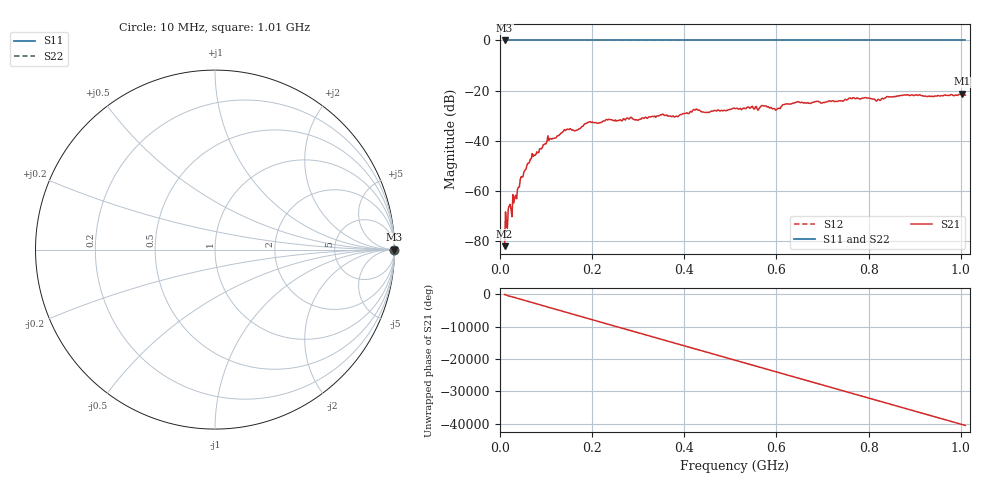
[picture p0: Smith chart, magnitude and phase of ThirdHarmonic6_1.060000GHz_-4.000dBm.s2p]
! 8/16/2025 9:28:37 AM
! C:\ANRITSUVNA\TEMP\TEMP.S2P
! CHANNEL.1
! TR.MEASUREMENT
! RAW.DATA
! RF.CORRECTION.OFF
! AVERAGING.OFF
! IF.BANDWIDTH: 5KHZ
! SWEEPTYPE:  FREQ.SWEEP(Linear)
! Reference Plane Port Info
! PORT:  PORT1  PORT2
! DISTANCE:  0  m  0  m
! TIME:  0  s  0  s
! PHASE.OFFSET:  0  deg.  0  deg.
! LOSS:  0  dB  0  dB
! REF.LOSS:  0  dB  0  dB
! REF.FREQ:  0  Hz  0  Hz
! Power Info
! POWER:  -20  dBm  -20  dBm
! EFF.POWER:  -20  dBm  -20  dBm
! SOURCE.ATTEN:  0  dB  0  dB
! TEST.ATTEN:  0  dB  0  dB
# GHZ S RI R 50.0
! FREQ.GHZ  S11RE  S11IM  S21RE  S21IM  S12RE  S12IM  S22RE  S22IM
!; PortSelection: Port_12
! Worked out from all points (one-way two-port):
!   501 points, 10 MHz to 1.01 GHz, reference 50 ohm
!   highest |S21| = -21.22 dB at 1.002 GHz (marker M1); lowest = -81.9 dB at 10 MHz (marker M2)
!   lowest |S11| = 0.0 dB at 10 MHz (marker M3)
!   |S11| at or under -10 dB: nowhere
!   |S22| runs from 0.0 to 0.0 dB; largest |S21 - S12| = 1.1
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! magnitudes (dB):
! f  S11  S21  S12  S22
! 10 MHz  0.0  -81.9  0.0  0.0
! 12 MHz  0.0  -68.2  0.0  0.0
! 16 MHz  0.0  -74.8  0.0  0.0
! 28 MHz  0.0  -61.4  0.0  0.0
! 48 MHz  0.0  -54.4  0.0  0.0
! 70 MHz  0.0  -45.0  0.0  0.0
! 106 MHz  0.0  -39.8  0.0  0.0
! 142 MHz  0.0  -35.9  0.0  0.0
! 178 MHz  0.0  -34.3  0.0  0.0
! 194 MHz  0.0  -32.4  0.0  0.0
! 344 MHz  0.0  -30.0  0.0  0.0
! 382 MHz  0.0  -30.1  0.0  0.0
! 510 MHz  0.0  -27.1  0.0  0.0
! 572 MHz  0.0  -26.1  0.0  0.0
! 602 MHz  0.0  -27.1  0.0  0.0
! 618 MHz  0.0  -25.4  0.0  0.0
! 678 MHz  0.0  -24.7  0.0  0.0
! 764 MHz  0.0  -23.2  0.0  0.0
! 820 MHz  0.0  -23.5  0.0  0.0
! 844 MHz  0.0  -22.4  0.0  0.0
! 1.002 GHz  0.0  -21.2  0.0  0.0
! 1.01 GHz  0.0  -21.7  0.0  0.0
